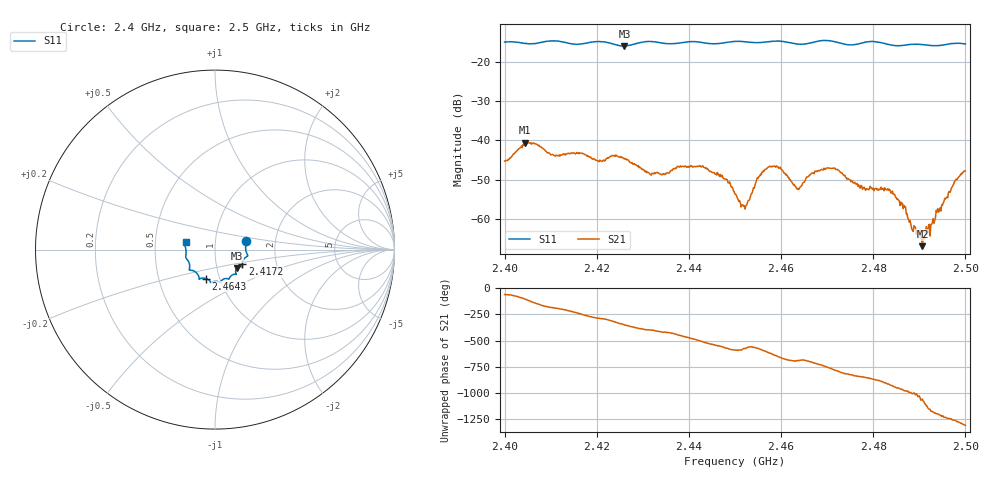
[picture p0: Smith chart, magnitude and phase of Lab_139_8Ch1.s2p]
# Hz S RI R 50
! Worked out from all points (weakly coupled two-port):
!   601 points, 2.4 GHz to 2.5 GHz, reference 50 ohm
!   highest |S21| = -40.55 dB at 2.4045 GHz (marker M1); lowest = -67.0 dB at 2.4907 GHz (marker M2)
!   lowest |S11| = -15.9 dB at 2.426 GHz (marker M3), VSWR 1.38, Z = 62.1 - j13.3 ohm
!   |S11| at or under -10 dB: start of sweep to end of sweep
!   S12 and S22 are empty: the file has one direction only
!   S11 on the Smith chart (normalised r, x): 2.4 GHz: 1.41, +0.14; 2.4172 GHz: 1.34, -0.22; 2.4643 GHz: 0.86, -0.29; 2.5 GHz: 0.72, +0.06
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2.4e9  0.1728 0.0491  0.00277 -0.0047  0 0  0 0
2.4045e9  0.1704 0.0194  -0.00241 -0.00907  0 0  0 0
2.411167e9  0.1824 -0.0355  -0.00638 0.00117  0 0  0 0
2.416667e9  0.1529 -0.074  -0.00264 0.00636  0 0  0 0
2.417167e9  0.152 -0.0798  -0.00184 0.00649  0 0  0 0
2.426e9  0.1207 -0.1046  0.0058 0.00103  0 0  0 0
2.433333e9  0.1131 -0.1371  0.00245 -0.00299  0 0  0 0
2.442833e9  0.0707 -0.1627  -0.00395 -0.0025  0 0  0 0
2.447667e9  0.0366 -0.1718  -0.00296 0.00134  0 0  0 0
2.45e9  0.0291 -0.181  -0.00132 0.00159  0 0  0 0
2.452333e9  0.0211 -0.1796  -0.00124 0.000758  0 0  0 0
2.455333e9  -0.000947 -0.1769  -0.00267 0.00225  0 0  0 0
2.458e9  -0.0188 -0.1822  -0.000254 0.0046  0 0  0 0
2.464333e9  -0.0497 -0.161  0.00218 0.00142  0 0  0 0
2.466667e9  -0.0759 -0.1594  0.00372 0.000912  0 0  0 0
2.471667e9  -0.0878 -0.1593  0.00207 -0.00394  0 0  0 0
2.478167e9  -0.1366 -0.1151  -0.00159 -0.00184  0 0  0 0
2.483333e9  -0.141 -0.09  -0.00224 0.000561  0 0  0 0
2.4865e9  -0.1522 -0.0589  -0.000396 0.00129  0 0  0 0
2.490667e9  -0.163 -0.0365  0.000417 0.000164  0 0  0 0
2.4975e9  -0.1703 0.0299  -0.00281 -7.41e-06  0 0  0 0
2.5e9  -0.1641 0.0431  -0.0026 0.00314  0 0  0 0
